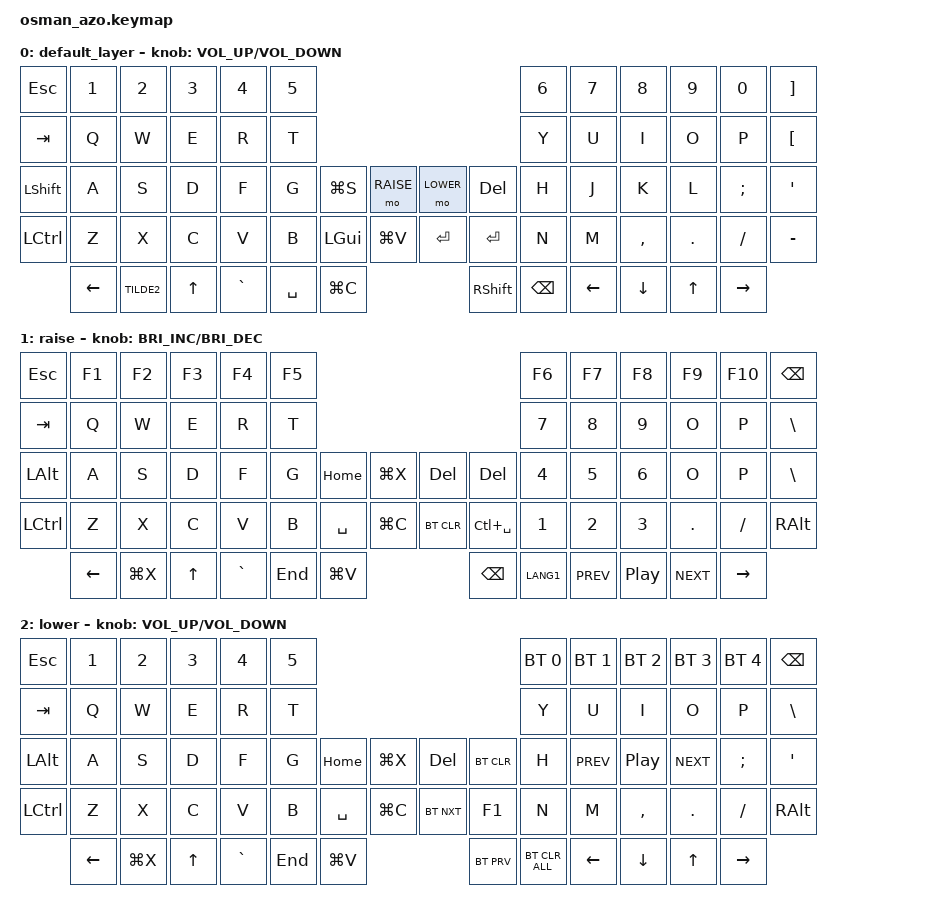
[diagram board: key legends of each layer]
#include <behaviors.dtsi>
#include <dt-bindings/zmk/keys.h>
#include <dt-bindings/zmk/bt.h>
#include <dt-bindings/zmk/outputs.h>

#define DEFAULT 0
#define RAISE   1
#define LOWER   2

/ {
    keymap {
        compatible = "zmk,keymap";

        default_layer {
            bindings = <
&kp ESC    &kp N1   &kp N2     &kp N3   &kp N4    &kp N5                                                       &kp N6   &kp N7   &kp N8     &kp N9     &kp N0     &kp RIGHT_BRACKET
&kp TAB    &kp Q    &kp W      &kp E    &kp R     &kp T                                                        &kp Y    &kp U    &kp I      &kp O      &kp P      &kp LEFT_BRACKET
&kp LSHIFT &kp A    &kp S      &kp D    &kp F     &kp G        &kp LG(S)  &mo RAISE  &mo LOWER  &kp DEL        &kp H    &kp J    &kp K      &kp L      &kp SEMI   &kp SQT
&kp LCTRL  &kp Z    &kp X      &kp C    &kp V     &kp B        &kp LGUI   &kp LG(V)  &kp ENTER  &kp ENTER      &kp N    &kp M    &kp COMMA  &kp PERIOD &kp FSLH   &kp MINUS
           &kp LEFT &kp TILDE2 &kp UP   &kp GRAVE      &kp SPACE          &kp LG(C)  &kp RSHIFT          &kp BSPC        &kp LEFT &kp DOWN   &kp UP     &kp RIGHT
            >;
            sensor-bindings = <&inc_dec_kp C_VOLUME_UP C_VOLUME_DOWN>;
        };

        raise {
             bindings = <
&kp ESC    &kp F1   &kp F2    &kp F3   &kp F4    &kp F5                                                        &kp F6     &kp F7   &kp F8  &kp F9     &kp F10     &kp BSPC
&kp TAB    &kp Q    &kp W     &kp E    &kp R     &kp T                                                         &kp N7     &kp N8   &kp N9  &kp O      &kp P       &kp BSLH
&kp LALT   &kp A    &kp S     &kp D    &kp F     &kp G        &kp HOME   &kp LG(X)  &kp DEL    &kp DEL         &kp N4     &kp N5   &kp N6  &kp O      &kp P       &kp BSLH
&kp LCTRL  &kp Z    &kp X     &kp C    &kp V     &kp B        &kp SPACE  &kp LG(C)  &bt BT_CLR &kp LC(SPACE)   &kp N1     &kp N2   &kp N3  &kp PERIOD &kp FSLH    &kp RALT
           &kp LEFT &kp LG(X) &kp UP   &kp GRAVE      &kp END            &kp LG(V)  &kp BSPC          &kp LANG1        &kp C_PREV &kp C_PLAY_PAUSE &kp C_NEXT     &kp RIGHT
            >;
            sensor-bindings = <&inc_dec_kp C_BRIGHTNESS_INC C_BRIGHTNESS_DEC>;
        };

        lower {
             bindings = <
&kp ESC    &kp N1   &kp N2    &kp N3   &kp N4    &kp N5                                                     &bt BT_SEL 0 &bt BT_SEL 1 &bt BT_SEL 2 &bt BT_SEL 3 &bt BT_SEL 4 &kp BSPC
&kp TAB    &kp Q    &kp W     &kp E    &kp R     &kp T                                                      &kp Y        &kp U    &kp I      &kp O      &kp P      &kp BSLH
&kp LALT   &kp A    &kp S     &kp D    &kp F     &kp G     &kp HOME   &kp LG(X)  &kp DEL    &bt BT_CLR      &kp H &kp C_PREV &kp C_PLAY_PAUSE &kp C_NEXT &kp SEMI &kp SQT
&kp LCTRL  &kp Z    &kp X     &kp C    &kp V     &kp B     &kp SPACE  &kp LG(C)  &bt BT_NXT &kp F1          &kp N      &kp M    &kp COMMA  &kp PERIOD &kp FSLH   &kp RALT
           &kp LEFT &kp LG(X) &kp UP   &kp GRAVE      &kp END         &kp LG(V)  &bt BT_PRV        &bt BT_CLR_ALL      &kp LEFT &kp DOWN   &kp UP     &kp RIGHT
            >;
            sensor-bindings = <&inc_dec_kp C_VOLUME_UP C_VOLUME_DOWN>;
        };
    };
};
